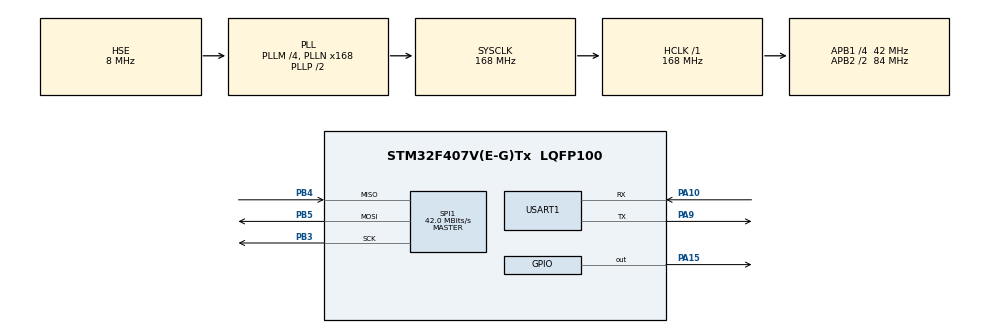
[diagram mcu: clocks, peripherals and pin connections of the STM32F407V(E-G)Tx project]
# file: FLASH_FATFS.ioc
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FATFS._CODE_PAGE=936
FATFS._MAX_SS=4096
FATFS._MIN_SS=4096
FATFS._USE_LFN=2
Mcu.Family=STM32F4
Mcu.Name=STM32F407V(E-G)Tx
Mcu.Package=LQFP100
NVIC.PriorityGroup=NVIC_PRIORITYGROUP_4
PA10.Mode=Asynchronous
PA10.Signal=USART1_RX
PA13.Mode=Serial_Wire
PA13.Signal=SYS_JTMS-SWDIO
PA14.Mode=Serial_Wire
PA14.Signal=SYS_JTCK-SWCLK
PA15.GPIO_PuPd=GPIO_PULLUP
PA15.PinState=GPIO_PIN_SET
PA15.Signal=GPIO_Output
PA9.Mode=Asynchronous
PA9.Signal=USART1_TX
PB3.Mode=Full_Duplex_Master
PB3.Signal=SPI1_SCK
PB4.Mode=Full_Duplex_Master
PB4.Signal=SPI1_MISO
PB5.Mode=Full_Duplex_Master
PB5.Signal=SPI1_MOSI
PC14-OSC32_IN.Mode=LSE-External-Oscillator
PC14-OSC32_IN.Signal=RCC_OSC32_IN
PC15-OSC32_OUT.Mode=LSE-External-Oscillator
PC15-OSC32_OUT.Signal=RCC_OSC32_OUT
PH0-OSC_IN.Mode=HSE-External-Oscillator
PH0-OSC_IN.Signal=RCC_OSC_IN
PH1-OSC_OUT.Mode=HSE-External-Oscillator
PH1-OSC_OUT.Signal=RCC_OSC_OUT
ProjectManager.HeapSize=0x200
ProjectManager.StackSize=0x1000
ProjectManager.TargetToolchain=MDK-ARM V5.27
RCC.48MHZClocksFreq_Value=84000000
RCC.AHBFreq_Value=168000000
RCC.APB1CLKDivider=RCC_HCLK_DIV4
RCC.APB1Freq_Value=42000000
RCC.APB1TimFreq_Value=84000000
RCC.APB2CLKDivider=RCC_HCLK_DIV2
RCC.APB2Freq_Value=84000000
RCC.APB2TimFreq_Value=168000000
RCC.CortexFreq_Value=168000000
RCC.HCLKFreq_Value=168000000
RCC.HSE_VALUE=8000000
RCC.HSI_VALUE=16000000
RCC.PLLM=4
RCC.PLLN=168
RCC.PLLSourceVirtual=RCC_PLLSOURCE_HSE
RCC.SYSCLKFreq_VALUE=168000000
RCC.SYSCLKSource=RCC_SYSCLKSOURCE_PLLCLK
RCC.VCOOutputFreq_Value=336000000
SPI1.CalculateBaudRate=42.0 MBits/s
SPI1.Direction=SPI_DIRECTION_2LINES
SPI1.Mode=SPI_MODE_MASTER
SPI1.VirtualType=VM_MASTER
USART1.VirtualMode=VM_ASYNC
VP_FATFS_VS_Generic.Mode=User_defined
board=custom

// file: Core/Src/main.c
/* USER CODE BEGIN Header */
/**
  ******************************************************************************
  * @file           : main.c
  * @brief          : Main program body
  ******************************************************************************
  * @attention
  *
  * <h2><center>&copy; Copyright (c) 2021 STMicroelectronics.
  * All rights reserved.</center></h2>
  *
  * This software component is licensed by ST under Ultimate Liberty license
  * SLA0044, the "License"; You may not use this file except in compliance with
  * the License. You may obtain a copy of the License at:
  *                             www.st.com/SLA0044
  *
  ******************************************************************************
  */
/* USER CODE END Header */
#include "main.h"
#include "fatfs.h"
#include "spi.h"
#include "usart.h"
#include "gpio.h"

/* USER CODE BEGIN Includes */
#include <stdio.h>
#include "flash.h"

/* USER CODE END Includes */

/* USER CODE BEGIN PTD */
extern char USERPath[4];
		int r;
/* USER CODE END PTD */

/* USER CODE BEGIN PM */
FATFS   fs;            /* FATFS 文件系统对象 */
FRESULT fr;         /* FATFS API 返回值 */
FIL     fd;         /* FATFS 文件对象    */
/* USER CODE END PM */

void SystemClock_Config(void);

/* USER CODE BEGIN 0 */
void mount_disk(void)
{
  uint8_t res = f_mount(&fs, USERPath, 0);
  if (res != FR_OK)
  {
    printf("FAILED: %d\n",res);
   return;
 }
  printf("MOUNT OK\n");
}

void format_disk(void)
{
  uint8_t res = 0;
	char buffer[1024];
  printf("PROCESSING...\n");
  res = f_mkfs(USERPath, 1, 4096,buffer,2);

  if (res == FR_OK)
  {
    printf("OK!\n");
  }
  else
  {
    printf("failed with: %d\n",res);
  }
}

void create_file(void)
{
  FIL file;
  FIL *pf = &file;
  uint8_t res;

  res = f_open(pf, "0:/test.txt", FA_OPEN_ALWAYS | FA_WRITE);
  if (res == FR_OK)
  {
    printf("creat ok\n");
  }
  else
  {
    printf("creat failed\n");
    printf("error code: %d\n",res);
  }

  f_printf(pf, "hello fatfs!\n");

  res = f_close(pf);
    if (res != FR_OK)
    {
      printf("close file error\n");
      printf("error code: %d\n",res);
    }
}

void get_disk_info(void)
{
	FATFS fs;
	FATFS *fls = &fs;
	FRESULT res;
	DWORD fre_clust;

	res = f_getfree("/",&fre_clust,&fls);         /* Get Number of Free Clusters */
	if (res == FR_OK)
	{
	                                             /* Print free space in unit of MB (assuming 4096 bytes/sector) */
        printf("%d KB Total Drive Space.\n"
               "%d KB Available Space.\n",
               ((fls->n_fatent-2)*fls->csize)*4,(fre_clust*fls->csize)*4);
	}
	else
	{
		printf("get disk info error\n");
		printf("error code: %d\n",res);
	}
}

void read_file(void)
{
  FIL file;
  FRESULT res;
  UINT bw;
  uint8_t rbuf[100] = {0};

  res = f_open(&file, "0:/test.txt", FA_READ);
  if (res != FR_OK)
  {
    printf("open error: %d\n",res);
    return;
  }
  f_read(&file, rbuf, 20, &bw);
  printf("%s\n", rbuf);

  res = f_close(&file);
  if (res != FR_OK)
  {
     printf("close file error\n");
     printf("error code: %d\n",res);
  }
}

/* USER CODE END 0 */

int main(void)
{
  /* USER CODE BEGIN 1 */
		uint16_t device_id;
		uint8_t read_buf[10] = {0};
		uint8_t write_buf[10] = {0};
		int i;

  /* USER CODE END 1 */

  /* MCU Configuration--------------------------------------------------------*/

  /* Reset of all peripherals, Initializes the Flash interface and the Systick. */
  HAL_Init();

  /* Configure the system clock */
  SystemClock_Config();

  /* Initialize all configured peripherals */
  MX_GPIO_Init();
  MX_SPI1_Init();
  MX_USART1_UART_Init();
  MX_FATFS_Init();
  /* USER CODE BEGIN 2 */
//    printf("W25Q64 SPI Flash Test By Mculover666\r\n");
//    device_id = W25QXX_ReadID();
//    printf("W25Q64 Device ID is 0x%04x\r\n", device_id);

//    /* 为了验证，首先读取要写入地址处的数据 */
//    printf("-------- read data before write -----------\r\n");
//    W25QXX_Read(read_buf, 0, 10);

//    for (i = 0;i < 10;i++) {
//        printf("[0x%08x]:0x%02x\r\n", i, *(read_buf+i));
//    }

//    /* 擦除该扇区 */
//    printf("-------- erase sector 0 -----------\r\n");
//    W25QXX_Erase_Sector(0);

//    /* 再次读数据 */
//    printf("-------- read data after erase -----------\r\n");
//    W25QXX_Read(read_buf, 0, 10);
//    for (i = 0;i < 10;i++) {
//        printf("[0x%08x]:0x%02x\r\n", i, *(read_buf+i));
//    }

//    /* 写数据 */
//    printf("-------- write data -----------\r\n");
//    for (i = 0; i < 10;i++) {
//        write_buf[i] = i;
//    }
//    W25QXX_Page_Program(write_buf, 0, 10);

//    /* 再次读数据 */
//    printf("-------- read data after write -----------\r\n");
//    W25QXX_Read(read_buf, 0, 10);
//    for (i = 0;i < 10;i++) {
//        printf("[0x%08x]:0x%02x\r\n", i, *(read_buf+i));}
//W25QXX_Erase_Sector(0);
mount_disk();
format_disk();

//for(r=0;r<2048;r++)
// W25QXX_Erase_Sector(r);

create_file();
	get_disk_info();
		read_file();
  /* USER CODE END 2 */

  /* Infinite loop */
  while (1)
  {

  }
}

void SystemClock_Config(void)
{
  RCC_OscInitTypeDef RCC_OscInitStruct = {0};
  RCC_ClkInitTypeDef RCC_ClkInitStruct = {0};

  /** Configure the main internal regulator output voltage
  */
  __HAL_RCC_PWR_CLK_ENABLE();
  __HAL_PWR_VOLTAGESCALING_CONFIG(PWR_REGULATOR_VOLTAGE_SCALE1);
  /** Initializes the RCC Oscillators according to the specified parameters
  * in the RCC_OscInitTypeDef structure.
  */
  RCC_OscInitStruct.OscillatorType = RCC_OSCILLATORTYPE_HSE;
  RCC_OscInitStruct.HSEState = RCC_HSE_ON;
  RCC_OscInitStruct.PLL.PLLState = RCC_PLL_ON;
  RCC_OscInitStruct.PLL.PLLSource = RCC_PLLSOURCE_HSE;
  RCC_OscInitStruct.PLL.PLLM = 4;
  RCC_OscInitStruct.PLL.PLLN = 168;
  RCC_OscInitStruct.PLL.PLLP = RCC_PLLP_DIV2;
  RCC_OscInitStruct.PLL.PLLQ = 4;
  if (HAL_RCC_OscConfig(&RCC_OscInitStruct) != HAL_OK)
  {
    Error_Handler();
  }
  /** Initializes the CPU, AHB and APB buses clocks
  */
  RCC_ClkInitStruct.ClockType = RCC_CLOCKTYPE_HCLK|RCC_CLOCKTYPE_SYSCLK
                              |RCC_CLOCKTYPE_PCLK1|RCC_CLOCKTYPE_PCLK2;
  RCC_ClkInitStruct.SYSCLKSource = RCC_SYSCLKSOURCE_PLLCLK;
  RCC_ClkInitStruct.AHBCLKDivider = RCC_SYSCLK_DIV1;
  RCC_ClkInitStruct.APB1CLKDivider = RCC_HCLK_DIV4;
  RCC_ClkInitStruct.APB2CLKDivider = RCC_HCLK_DIV2;

  if (HAL_RCC_ClockConfig(&RCC_ClkInitStruct, FLASH_LATENCY_5) != HAL_OK)
  {
    Error_Handler();
  }
}

void Error_Handler(void)
{
}

/************************ (C) COPYRIGHT STMicroelectronics *****END OF FILE****/
